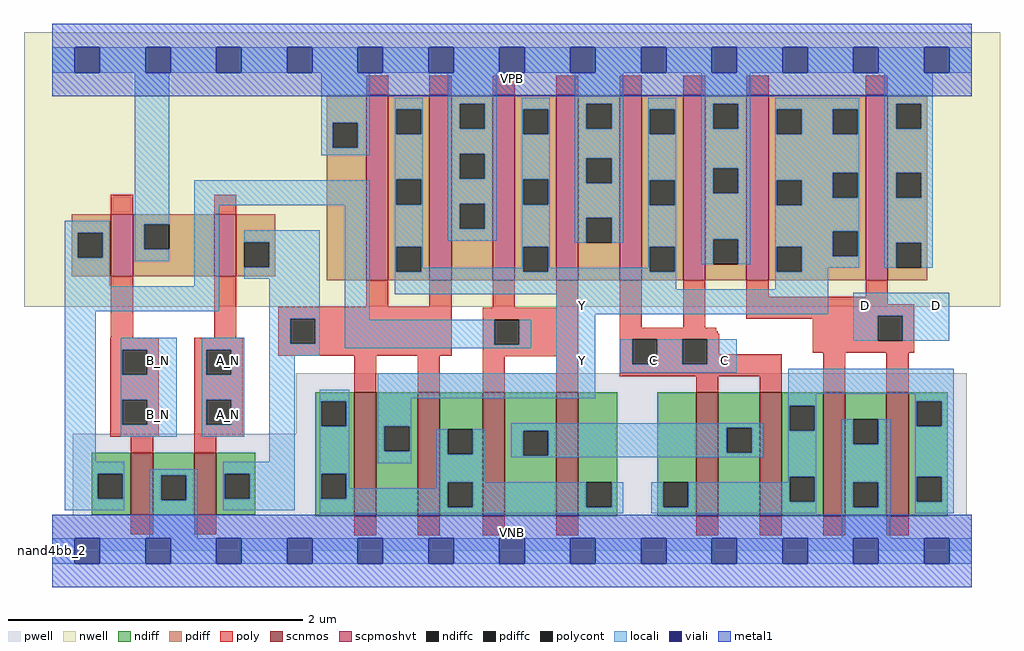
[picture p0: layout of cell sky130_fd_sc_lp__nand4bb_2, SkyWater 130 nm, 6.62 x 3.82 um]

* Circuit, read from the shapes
.subckt sky130_fd_sc_lp__nand4bb_2 A_N B_N C D VGND VNB VPB VPWR Y
XM1 VGND B_N n1 VNB sky130_fd_pr__nfet_01v8 w=0.42 l=0.15
XM2 n2 A_N VGND VNB sky130_fd_pr__nfet_01v8 w=0.42 l=0.15
XM3 Y n2 n3 VNB sky130_fd_pr__nfet_01v8 w=0.84 l=0.15 m=2
XM4 n4 n1 n3 VNB sky130_fd_pr__nfet_01v8 w=0.84 l=0.15 m=2
XM5 n4 C n5 VNB sky130_fd_pr__nfet_01v8 w=0.84 l=0.15 m=2
XM6 VGND D n5 VNB sky130_fd_pr__nfet_01v8 w=0.84 l=0.15 m=2
XM7 VPWR B_N n1 VPB sky130_fd_pr__pfet_01v8_hvt w=0.42 l=0.15
XM8 n2 A_N VPWR VPB sky130_fd_pr__pfet_01v8_hvt w=0.42 l=0.15
XM9 Y n2 VPWR VPB sky130_fd_pr__pfet_01v8_hvt w=1.26 l=0.15 m=2
XM10 Y n1 VPWR VPB sky130_fd_pr__pfet_01v8_hvt w=1.26 l=0.15 m=2
XM11 Y C VPWR VPB sky130_fd_pr__pfet_01v8_hvt w=1.26 l=0.15 m=2
XM12 Y D VPWR VPB sky130_fd_pr__pfet_01v8_hvt w=1.26 l=0.15 m=2
.ends

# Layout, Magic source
magic
tech sky130A
magscale 1 2
<< nwell >>
rect -38 331 1286 704
<< pwell >>
rect 331 159 1241 241
rect 28 49 1241 159
rect 0 0 1248 49
<< scnmos >>
rect 107 49 137 133
rect 193 49 223 133
rect 410 47 440 215
rect 496 47 526 215
rect 584 47 614 215
rect 684 47 714 215
rect 874 47 904 215
rect 960 47 990 215
rect 1046 47 1076 215
rect 1132 47 1162 215
<< scpmoshvt >>
rect 80 373 110 457
rect 220 373 250 457
rect 426 367 456 619
rect 512 367 542 619
rect 598 367 628 619
rect 684 367 714 619
rect 770 367 800 619
rect 856 367 886 619
rect 942 367 972 619
rect 1104 367 1134 619
<< ndiff >>
rect 357 203 410 215
rect 357 169 365 203
rect 399 169 410 203
rect 54 105 107 133
rect 54 71 62 105
rect 96 71 107 105
rect 54 49 107 71
rect 137 103 193 133
rect 137 69 148 103
rect 182 69 193 103
rect 137 49 193 69
rect 223 105 276 133
rect 223 71 234 105
rect 268 71 276 105
rect 223 49 276 71
rect 357 105 410 169
rect 357 71 365 105
rect 399 71 410 105
rect 357 47 410 71
rect 440 169 496 215
rect 440 135 451 169
rect 485 135 496 169
rect 440 47 496 135
rect 526 165 584 215
rect 526 131 537 165
rect 571 131 584 165
rect 526 93 584 131
rect 526 59 537 93
rect 571 59 584 93
rect 526 47 584 59
rect 614 163 684 215
rect 614 129 639 163
rect 673 129 684 163
rect 614 47 684 129
rect 714 93 767 215
rect 714 59 725 93
rect 759 59 767 93
rect 714 47 767 59
rect 821 93 874 215
rect 821 59 829 93
rect 863 59 874 93
rect 821 47 874 59
rect 904 167 960 215
rect 904 133 915 167
rect 949 133 960 167
rect 904 47 960 133
rect 990 197 1046 215
rect 990 163 1001 197
rect 1035 163 1046 197
rect 990 101 1046 163
rect 990 67 1001 101
rect 1035 67 1046 101
rect 990 47 1046 67
rect 1076 179 1132 215
rect 1076 145 1087 179
rect 1121 145 1132 179
rect 1076 93 1132 145
rect 1076 59 1087 93
rect 1121 59 1132 93
rect 1076 47 1132 59
rect 1162 203 1215 215
rect 1162 169 1173 203
rect 1207 169 1215 203
rect 1162 101 1215 169
rect 1162 67 1173 101
rect 1207 67 1215 101
rect 1162 47 1215 67
<< pdiff >>
rect 373 581 426 619
rect 373 547 381 581
rect 415 547 426 581
rect 27 432 80 457
rect 27 398 35 432
rect 69 398 80 432
rect 27 373 80 398
rect 110 443 220 457
rect 110 409 125 443
rect 159 409 220 443
rect 110 373 220 409
rect 250 419 303 457
rect 250 385 261 419
rect 295 385 303 419
rect 250 373 303 385
rect 373 367 426 547
rect 456 599 512 619
rect 456 565 467 599
rect 501 565 512 599
rect 456 504 512 565
rect 456 470 467 504
rect 501 470 512 504
rect 456 413 512 470
rect 456 379 467 413
rect 501 379 512 413
rect 456 367 512 379
rect 542 607 598 619
rect 542 573 553 607
rect 587 573 598 607
rect 542 539 598 573
rect 542 505 553 539
rect 587 505 598 539
rect 542 471 598 505
rect 542 437 553 471
rect 587 437 598 471
rect 542 367 598 437
rect 628 599 684 619
rect 628 565 639 599
rect 673 565 684 599
rect 628 504 684 565
rect 628 470 639 504
rect 673 470 684 504
rect 628 413 684 470
rect 628 379 639 413
rect 673 379 684 413
rect 628 367 684 379
rect 714 607 770 619
rect 714 573 725 607
rect 759 573 770 607
rect 714 533 770 573
rect 714 499 725 533
rect 759 499 770 533
rect 714 452 770 499
rect 714 418 725 452
rect 759 418 770 452
rect 714 367 770 418
rect 800 599 856 619
rect 800 565 811 599
rect 845 565 856 599
rect 800 503 856 565
rect 800 469 811 503
rect 845 469 856 503
rect 800 413 856 469
rect 800 379 811 413
rect 845 379 856 413
rect 800 367 856 379
rect 886 607 942 619
rect 886 573 897 607
rect 931 573 942 607
rect 886 519 942 573
rect 886 485 897 519
rect 931 485 942 519
rect 886 423 942 485
rect 886 389 897 423
rect 931 389 942 423
rect 886 367 942 389
rect 972 599 1104 619
rect 972 565 983 599
rect 1017 565 1059 599
rect 1093 565 1104 599
rect 972 513 1104 565
rect 972 503 1059 513
rect 972 469 983 503
rect 1017 479 1059 503
rect 1093 479 1104 513
rect 1017 469 1104 479
rect 972 434 1104 469
rect 972 413 1059 434
rect 972 379 983 413
rect 1017 400 1059 413
rect 1093 400 1104 434
rect 1017 379 1104 400
rect 972 367 1104 379
rect 1134 607 1187 619
rect 1134 573 1145 607
rect 1179 573 1187 607
rect 1134 513 1187 573
rect 1134 479 1145 513
rect 1179 479 1187 513
rect 1134 418 1187 479
rect 1134 384 1145 418
rect 1179 384 1187 418
rect 1134 367 1187 384
<< ndiffc >>
rect 365 169 399 203
rect 62 71 96 105
rect 148 69 182 103
rect 234 71 268 105
rect 365 71 399 105
rect 451 135 485 169
rect 537 131 571 165
rect 537 59 571 93
rect 639 129 673 163
rect 725 59 759 93
rect 829 59 863 93
rect 915 133 949 167
rect 1001 163 1035 197
rect 1001 67 1035 101
rect 1087 145 1121 179
rect 1087 59 1121 93
rect 1173 169 1207 203
rect 1173 67 1207 101
<< pdiffc >>
rect 381 547 415 581
rect 35 398 69 432
rect 125 409 159 443
rect 261 385 295 419
rect 467 565 501 599
rect 467 470 501 504
rect 467 379 501 413
rect 553 573 587 607
rect 553 505 587 539
rect 553 437 587 471
rect 639 565 673 599
rect 639 470 673 504
rect 639 379 673 413
rect 725 573 759 607
rect 725 499 759 533
rect 725 418 759 452
rect 811 565 845 599
rect 811 469 845 503
rect 811 379 845 413
rect 897 573 931 607
rect 897 485 931 519
rect 897 389 931 423
rect 983 565 1017 599
rect 1059 565 1093 599
rect 983 469 1017 503
rect 1059 479 1093 513
rect 983 379 1017 413
rect 1059 400 1093 434
rect 1145 573 1179 607
rect 1145 479 1179 513
rect 1145 384 1179 418
<< poly >>
rect 426 619 456 645
rect 512 619 542 645
rect 598 619 628 645
rect 684 619 714 645
rect 770 619 800 645
rect 856 619 886 645
rect 942 619 972 645
rect 1104 619 1134 645
rect 80 457 110 483
rect 220 457 250 483
rect 80 289 110 373
rect 220 289 250 373
rect 426 331 456 367
rect 512 331 542 367
rect 307 315 542 331
rect 598 330 628 367
rect 684 330 714 367
rect 79 273 145 289
rect 79 239 95 273
rect 129 239 145 273
rect 79 205 145 239
rect 79 171 95 205
rect 129 171 145 205
rect 79 155 145 171
rect 193 273 259 289
rect 193 239 209 273
rect 243 239 259 273
rect 307 281 323 315
rect 357 281 542 315
rect 307 265 542 281
rect 584 314 714 330
rect 584 280 600 314
rect 634 280 714 314
rect 193 205 259 239
rect 410 215 440 265
rect 496 215 526 265
rect 584 264 714 280
rect 584 215 614 264
rect 684 215 714 264
rect 770 303 800 367
rect 856 303 886 367
rect 942 345 972 367
rect 1104 345 1134 367
rect 942 335 1134 345
rect 942 319 1170 335
rect 942 315 1120 319
rect 770 298 901 303
rect 770 295 903 298
rect 770 287 905 295
rect 770 253 787 287
rect 821 253 855 287
rect 889 267 905 287
rect 1032 285 1120 315
rect 1154 285 1170 319
rect 1032 269 1170 285
rect 889 253 990 267
rect 770 237 990 253
rect 874 215 904 237
rect 960 215 990 237
rect 1046 215 1076 269
rect 1132 215 1162 269
rect 193 171 209 205
rect 243 171 259 205
rect 193 155 259 171
rect 107 133 137 155
rect 193 133 223 155
rect 107 23 137 49
rect 193 23 223 49
rect 410 21 440 47
rect 496 21 526 47
rect 584 21 614 47
rect 684 21 714 47
rect 874 21 904 47
rect 960 21 990 47
rect 1046 21 1076 47
rect 1132 21 1162 47
<< polycont >>
rect 95 239 129 273
rect 95 171 129 205
rect 209 239 243 273
rect 323 281 357 315
rect 600 280 634 314
rect 787 253 821 287
rect 855 253 889 287
rect 1120 285 1154 319
rect 209 171 243 205
<< locali >>
rect 0 649 31 683
rect 65 649 127 683
rect 161 649 223 683
rect 257 649 319 683
rect 353 649 415 683
rect 449 649 511 683
rect 545 649 607 683
rect 641 649 703 683
rect 737 649 799 683
rect 833 649 895 683
rect 929 649 991 683
rect 1025 649 1087 683
rect 1121 649 1183 683
rect 1217 649 1248 683
rect 17 432 78 448
rect 17 398 35 432
rect 69 398 78 432
rect 17 359 78 398
rect 112 443 159 649
rect 365 581 431 649
rect 365 547 381 581
rect 415 547 431 581
rect 365 537 431 547
rect 465 599 503 615
rect 465 565 467 599
rect 501 565 503 599
rect 465 504 503 565
rect 112 409 125 443
rect 112 393 159 409
rect 193 469 431 503
rect 193 359 227 469
rect 261 419 363 435
rect 295 385 363 419
rect 261 369 363 385
rect 17 325 227 359
rect 17 121 59 325
rect 295 315 363 369
rect 93 273 169 289
rect 93 239 95 273
rect 129 239 169 273
rect 93 205 169 239
rect 93 171 95 205
rect 129 171 169 205
rect 93 155 169 171
rect 203 273 261 289
rect 203 239 209 273
rect 243 239 261 273
rect 203 205 261 239
rect 203 171 209 205
rect 243 171 261 205
rect 203 155 261 171
rect 295 281 323 315
rect 357 281 363 315
rect 295 265 363 281
rect 397 314 431 469
rect 465 470 467 504
rect 501 470 503 504
rect 465 413 503 470
rect 537 607 603 649
rect 537 573 553 607
rect 587 573 603 607
rect 537 539 603 573
rect 537 505 553 539
rect 587 505 603 539
rect 537 471 603 505
rect 537 437 553 471
rect 587 437 603 471
rect 537 421 603 437
rect 637 599 675 615
rect 637 565 639 599
rect 673 565 675 599
rect 637 504 675 565
rect 637 470 639 504
rect 673 470 675 504
rect 465 379 467 413
rect 501 384 503 413
rect 637 413 675 470
rect 709 607 775 649
rect 709 573 725 607
rect 759 573 775 607
rect 709 533 775 573
rect 709 499 725 533
rect 759 499 775 533
rect 709 452 775 499
rect 709 418 725 452
rect 759 418 775 452
rect 809 599 847 615
rect 809 565 811 599
rect 845 565 847 599
rect 809 503 847 565
rect 809 469 811 503
rect 845 469 847 503
rect 637 384 639 413
rect 501 379 639 384
rect 673 384 675 413
rect 809 413 847 469
rect 809 384 811 413
rect 673 379 811 384
rect 845 379 847 413
rect 881 607 947 649
rect 881 573 897 607
rect 931 573 947 607
rect 881 519 947 573
rect 881 485 897 519
rect 931 485 947 519
rect 881 423 947 485
rect 881 389 897 423
rect 931 389 947 423
rect 981 599 1095 615
rect 981 565 983 599
rect 1017 565 1059 599
rect 1093 565 1095 599
rect 981 513 1095 565
rect 981 503 1059 513
rect 981 469 983 503
rect 1017 479 1059 503
rect 1093 479 1095 513
rect 1017 469 1095 479
rect 981 434 1095 469
rect 981 413 1059 434
rect 465 355 847 379
rect 981 379 983 413
rect 1017 400 1059 413
rect 1093 400 1095 434
rect 1017 384 1095 400
rect 1129 607 1195 649
rect 1129 573 1145 607
rect 1179 573 1195 607
rect 1129 513 1195 573
rect 1129 479 1145 513
rect 1179 479 1195 513
rect 1129 418 1195 479
rect 1129 384 1145 418
rect 1179 384 1195 418
rect 1017 379 1053 384
rect 981 355 1053 379
rect 465 348 1053 355
rect 684 321 1053 348
rect 397 280 600 314
rect 634 280 650 314
rect 397 275 650 280
rect 295 121 329 265
rect 684 241 737 321
rect 1087 319 1217 350
rect 771 253 787 287
rect 821 253 855 287
rect 889 253 929 287
rect 1087 285 1120 319
rect 1154 285 1217 319
rect 771 242 929 253
rect 17 105 98 121
rect 17 71 62 105
rect 96 71 98 105
rect 17 55 98 71
rect 132 103 198 111
rect 132 69 148 103
rect 182 69 198 103
rect 132 17 198 69
rect 232 105 329 121
rect 232 71 234 105
rect 268 71 329 105
rect 232 55 329 71
rect 363 203 403 219
rect 363 169 365 203
rect 399 169 403 203
rect 363 105 403 169
rect 442 207 737 241
rect 999 213 1223 247
rect 442 169 487 207
rect 999 197 1037 213
rect 442 135 451 169
rect 485 135 487 169
rect 623 167 965 173
rect 442 119 487 135
rect 521 131 537 165
rect 571 131 587 165
rect 363 71 365 105
rect 399 85 403 105
rect 521 93 587 131
rect 623 163 915 167
rect 623 129 639 163
rect 673 133 915 163
rect 949 133 965 167
rect 673 129 965 133
rect 623 127 965 129
rect 999 163 1001 197
rect 1035 163 1037 197
rect 1171 203 1223 213
rect 999 101 1037 163
rect 999 93 1001 101
rect 521 85 537 93
rect 399 71 537 85
rect 363 59 537 71
rect 571 59 725 93
rect 759 59 775 93
rect 363 51 775 59
rect 813 59 829 93
rect 863 67 1001 93
rect 1035 67 1037 101
rect 863 59 1037 67
rect 813 51 1037 59
rect 1071 145 1087 179
rect 1121 145 1137 179
rect 1071 93 1137 145
rect 1071 59 1087 93
rect 1121 59 1137 93
rect 1071 17 1137 59
rect 1171 169 1173 203
rect 1207 169 1223 203
rect 1171 101 1223 169
rect 1171 67 1173 101
rect 1207 67 1223 101
rect 1171 51 1223 67
rect 0 -17 31 17
rect 65 -17 127 17
rect 161 -17 223 17
rect 257 -17 319 17
rect 353 -17 415 17
rect 449 -17 511 17
rect 545 -17 607 17
rect 641 -17 703 17
rect 737 -17 799 17
rect 833 -17 895 17
rect 929 -17 991 17
rect 1025 -17 1087 17
rect 1121 -17 1183 17
rect 1217 -17 1248 17
<< viali >>
rect 31 649 65 683
rect 127 649 161 683
rect 223 649 257 683
rect 319 649 353 683
rect 415 649 449 683
rect 511 649 545 683
rect 607 649 641 683
rect 703 649 737 683
rect 799 649 833 683
rect 895 649 929 683
rect 991 649 1025 683
rect 1087 649 1121 683
rect 1183 649 1217 683
rect 31 -17 65 17
rect 127 -17 161 17
rect 223 -17 257 17
rect 319 -17 353 17
rect 415 -17 449 17
rect 511 -17 545 17
rect 607 -17 641 17
rect 703 -17 737 17
rect 799 -17 833 17
rect 895 -17 929 17
rect 991 -17 1025 17
rect 1087 -17 1121 17
rect 1183 -17 1217 17
<< metal1 >>
rect 0 683 1248 715
rect 0 649 31 683
rect 65 649 127 683
rect 161 649 223 683
rect 257 649 319 683
rect 353 649 415 683
rect 449 649 511 683
rect 545 649 607 683
rect 641 649 703 683
rect 737 649 799 683
rect 833 649 895 683
rect 929 649 991 683
rect 1025 649 1087 683
rect 1121 649 1183 683
rect 1217 649 1248 683
rect 0 617 1248 649
rect 0 17 1248 49
rect 0 -17 31 17
rect 65 -17 127 17
rect 161 -17 223 17
rect 257 -17 319 17
rect 353 -17 415 17
rect 449 -17 511 17
rect 545 -17 607 17
rect 641 -17 703 17
rect 737 -17 799 17
rect 833 -17 895 17
rect 929 -17 991 17
rect 1025 -17 1087 17
rect 1121 -17 1183 17
rect 1217 -17 1248 17
rect 0 -49 1248 -17
<< labels >>
flabel pwell s 0 0 1248 49 0 FreeSans 200 0 0 0 VNB
port 6 nsew ground bidirectional
flabel nwell s 0 617 1248 666 0 FreeSans 200 0 0 0 VPB
port 7 nsew power bidirectional
rlabel comment s 0 0 0 0 4 nand4bb_2
flabel metal1 s 0 617 1248 666 0 FreeSans 340 0 0 0 VPWR
port 8 nsew power bidirectional
flabel metal1 s 0 0 1248 49 0 FreeSans 340 0 0 0 VGND
port 5 nsew ground bidirectional
flabel locali s 799 242 833 276 0 FreeSans 340 0 0 0 C
port 3 nsew signal input
flabel locali s 895 242 929 276 0 FreeSans 340 0 0 0 C
port 3 nsew signal input
flabel locali s 1087 316 1121 350 0 FreeSans 340 0 0 0 D
port 4 nsew signal input
flabel locali s 1183 316 1217 350 0 FreeSans 340 0 0 0 D
port 4 nsew signal input
flabel locali s 223 168 257 202 0 FreeSans 340 0 0 0 A_N
port 1 nsew signal input
flabel locali s 223 242 257 276 0 FreeSans 340 0 0 0 A_N
port 1 nsew signal input
flabel locali s 127 168 161 202 0 FreeSans 340 0 0 0 B_N
port 2 nsew signal input
flabel locali s 127 242 161 276 0 FreeSans 340 0 0 0 B_N
port 2 nsew signal input
flabel locali s 703 242 737 276 0 FreeSans 340 0 0 0 Y
port 9 nsew signal output
flabel locali s 703 316 737 350 0 FreeSans 340 0 0 0 Y
port 9 nsew signal output
<< properties >>
string LEFsite unit
string LEFclass CORE
string FIXED_BBOX 0 0 1248 666
string GDS_FILE $PDKPATH/libs.ref/sky130_fd_sc_lp/gds/sky130_fd_sc_lp.gds
string LEFsymmetry X Y R90
string GDS_END 5651068
string GDS_START 5640360
<< end >>
